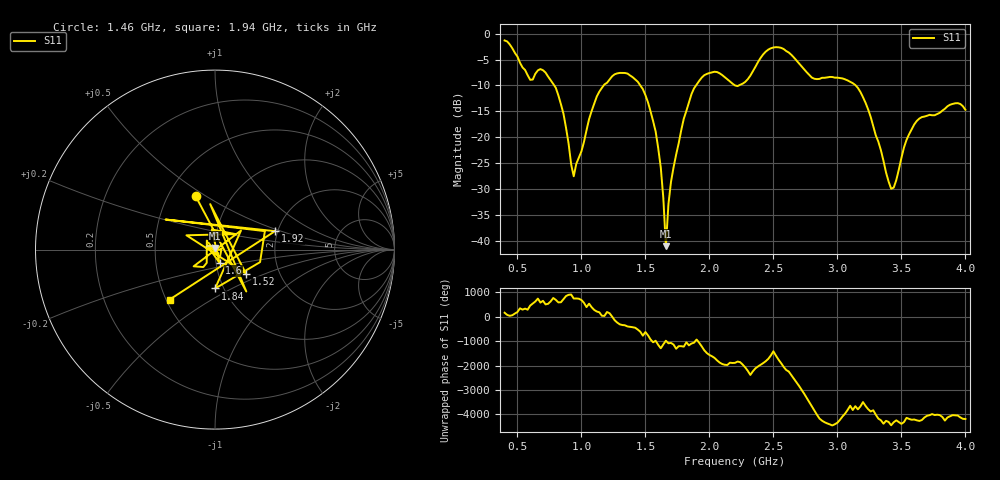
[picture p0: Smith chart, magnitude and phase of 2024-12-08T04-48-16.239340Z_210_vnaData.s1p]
!Created with skrf (http://scikit-rf.org).
# Hz S RI R 50.0
!freq ReS11 ImS11
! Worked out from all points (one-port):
!   181 points, 400 MHz to 4 GHz, reference 50 ohm
!   lowest |S11| = -41.0 dB at 1.66 GHz (marker M1), VSWR 1.02, Z = 49.8 + j0.872 ohm
!   |S11| at or under -10 dB: 787.7 MHz to 1.174 GHz (386.4 MHz wide, 39.4 % of centre); 1.46 GHz to 1.895 GHz (435.3 MHz wide, 25.9 % of centre); 3.143 GHz to end of sweep (the widest 3 of 4)
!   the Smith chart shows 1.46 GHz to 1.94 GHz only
!   S11 on the Smith chart (normalised r, x): 1.46 GHz: 0.68, +0.45; 1.52 GHz: 1.35, -0.38; 1.6 GHz: 1.04, -0.16; 1.84 GHz: 0.91, -0.41; 1.92 GHz: 1.93, +0.45; 1.94 GHz: 0.52, -0.34
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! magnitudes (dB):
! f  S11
! 400 MHz  -1.3
! 600 MHz  -8.9
! 720 MHz  -7.5
! 860 MHz  -15.5
! 940 MHz  -27.5
! 1.12 GHz  -12.1
! 1.3 GHz  -7.6
! 1.46 GHz  -10.0
! 1.52 GHz  -13.2
! 1.6 GHz  -22.1
! 1.64 GHz  -31.7
! 1.66 GHz  -41.0
! 1.68 GHz  -32.9
! 1.7 GHz  -28.6
! 1.76 GHz  -21.2
! 1.84 GHz  -13.3
! 1.92 GHz  -9.1
! 1.94 GHz  -8.5
! 2.2 GHz  -10.0
! 2.48 GHz  -2.8
! 2.66 GHz  -4.6
! 2.82 GHz  -8.7
! 3.1 GHz  -9.3
! 3.24 GHz  -14.6
! 3.42 GHz  -29.9
! 3.56 GHz  -19.4
! 3.88 GHz  -13.7
! 4 GHz  -14.7
